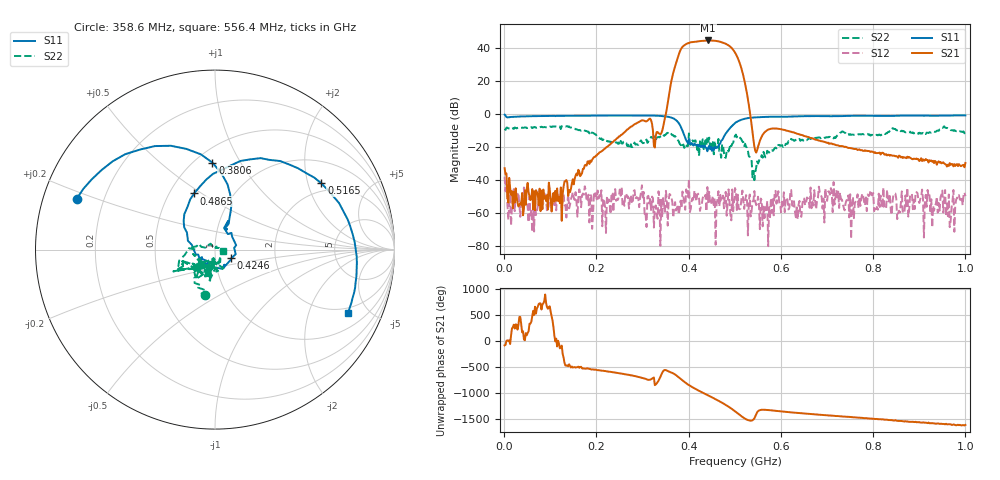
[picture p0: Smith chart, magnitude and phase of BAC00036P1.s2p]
!measured: 2026-10-27T15:18:58
!cal_instance: BBtestOct27
!cal_created: 2026-10-27T14:45
!cal_file: BBtesting.cal
!port1_delay_ps: -58.63
!port2_delay_ps: -59.31
!host: dhcp-10-250-247-203.harvard.edu
! Created with skrf 2.1.0 (http://scikit-rf.org).
# Hz S RI R 50.0
!freq ReS11 ImS11 ReS21 ImS21 ReS12 ImS12 ReS22 ImS22
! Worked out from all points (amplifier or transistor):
!   501 points, 1 MHz to 1 GHz, reference 50 ohm
!   highest |S21| = 44.7 dB at 442.6 MHz (marker M1)
!   |S21| within 3 dB of that: 390.3 MHz to 486.5 MHz (96.22 MHz wide, 21.9 % of centre)
!   unconditionally stable (mu >= 1): start of sweep to 399.7 MHz; 400.9 MHz to 440.4 MHz; 486.6 MHz to end of sweep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
!   at 166.8 MHz: K = 3782.01, MAG = -29.0 dB, |S12| = -56.3 dB
!   at 500.5 MHz: K = 1.06, MAG = 39.5 dB, |S12| = -44.7 dB
!   at 1 GHz: K = 613.75, MAG = -20.8 dB, |S12| = -49.6 dB
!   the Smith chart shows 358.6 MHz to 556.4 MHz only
!   S11 on the Smith chart (normalised r, x): 358.6 MHz: 0.10, +0.18; 380.6 MHz: 0.61, +0.77; 424.6 MHz: 1.19, -0.12; 486.5 MHz: 0.66, +0.47; 516.5 MHz: 1.69, +2.44; 556.4 MHz: 1.71, -3.71
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1000000  -0.4232 0.8765  -4.43e-05 -0.0233  -0.00591 -0.0114  0.3606 -0.0288
1.68832e8  0.4921 -0.7566  -0.0163 -0.00204  7.75e-05 0.00351  -0.0291 -0.3344
3.34666e8  -0.8394 -0.3217  0.1644 -0.2099  0.00376 0.00272  0.0401 -0.2009
3.58642e8  -0.7711 0.2824  -2.35 4.444  -0.00299 0.00243  -0.0541 -0.2515
3.72628e8  -0.3347 0.5768  19.54 29.11  0.000577 -0.00106  -0.1158 -0.1576
3.8062e8  -0.0142 0.4844  77.25 -3.195  -0.000955 -0.00102  -0.069 -0.1059
3.86614e8  0.0844 0.3083  78.78 -75.99  0.00396 -0.0023  -0.0845 -0.0749
3.96604e8  0.0669 0.1321  -52.18 -128.5  -0.00328 -0.000269  -0.1003 -0.0372
4.1059e8  0.0724 0.0865  -153.3 22.25  -0.00128 0.00199  -0.0346 -0.1458
4.24576e8  0.0907 -0.0489  -44.43 158.4  -0.000669 -0.000978  -0.0294 -0.1492
4.32568e8  0.0526 -0.0841  57.78 157.2  -0.000993 0.00318  -0.0343 -0.0812
4.42558e8  -0.0429 -0.0873  155.3 73.63  0.000353 -0.00215  -0.0902 -0.1156
4.52548e8  -0.0834 -0.0478  160.1 -58.79  0.00283 -0.00183  -0.1091 -0.0922
4.64536e8  -0.1061 -0.0283  38.19 -156.6  -0.00468 -0.000231  -0.0318 -0.1753
4.76524e8  -0.1716 0.1243  -103.6 -99.55  -0.00115 0.000826  -0.00332 -0.0677
4.86514e8  -0.1162 0.3132  -119.4 23.82  -0.00496 -0.00188  -0.00807 -0.0743
5.005e8  0.198 0.5029  12.28 72.87  0.00176 0.00556  -0.1941 -0.1079
5.16484e8  0.5924 0.3696  16.95 -8.999  -0.00404 0.00276  -0.1493 -0.000156
5.56444e8  0.7435 -0.3511  -0.0536 0.176  0.00244 0.00137  0.0459 -0.00784
6.68332e8  0.0676 -0.8743  0.1665 0.0793  0.00222 -0.00035  0.0324 -0.1744
8.34166e8  -0.5867 -0.6762  0.000869 -0.0594  0.000756 0.00224  -0.159 -0.242
1e9  -0.8837 -0.2661  -0.0334 0.00155  -0.00313 -0.00105  -0.2378 -0.1654
